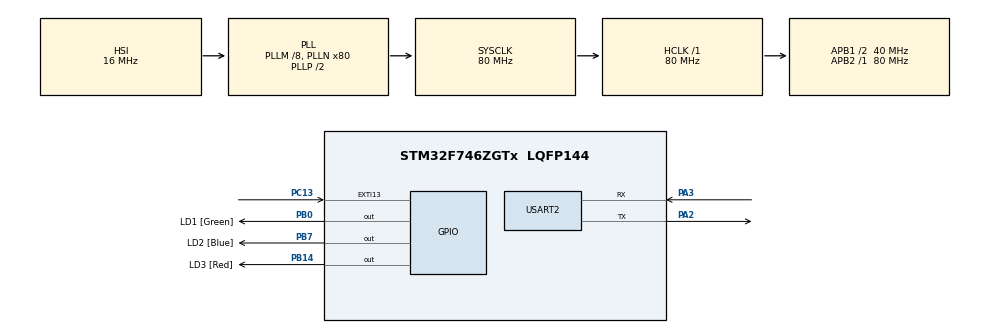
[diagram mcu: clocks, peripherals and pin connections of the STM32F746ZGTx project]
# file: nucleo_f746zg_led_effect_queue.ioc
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Mcu.Family=STM32F7
Mcu.Name=STM32F746ZGTx
Mcu.Package=LQFP144
NVIC.EXTI15_10_IRQn=true\:8\:0\:true\:false\:true\:true\:true\:true
NVIC.PriorityGroup=NVIC_PRIORITYGROUP_4
NVIC.TimeBase=TIM4_IRQn
NVIC.TimeBaseIP=TIM4
NVIC.USART2_IRQn=true\:8\:0\:true\:false\:true\:true\:true\:true
PA13.GPIO_Label=TMS
PA13.Signal=SYS_JTMS-SWDIO
PA14.Signal=SYS_JTCK-SWCLK
PA2.Mode=Asynchronous
PA2.Signal=USART2_TX
PA3.Mode=Asynchronous
PA3.Signal=USART2_RX
PB0.GPIO_Label=LD1 [Green]
PB0.Signal=GPIO_Output
PB14.GPIO_Label=LD3 [Red]
PB14.Signal=GPIO_Output
PB3.GPIO_Label=SW0
PB3.Signal=SYS_JTDO-SWO
PB7.GPIO_Label=LD2 [Blue]
PB7.Signal=GPIO_Output
PC13.Signal=GPXTI13
PC14/OSC32_IN.Signal=RCC_OSC32_IN
PC15/OSC32_OUT.Signal=RCC_OSC32_OUT
PH0/OSC_IN.Signal=RCC_OSC_IN
PH1/OSC_OUT.Signal=RCC_OSC_OUT
ProjectManager.HeapSize=0x200
ProjectManager.StackSize=0x400
ProjectManager.TargetToolchain=STM32CubeIDE
RCC.48MHZClocksFreq_Value=24000000
RCC.AHBFreq_Value=80000000
RCC.APB1CLKDivider=RCC_HCLK_DIV2
RCC.APB1Freq_Value=40000000
RCC.APB1TimFreq_Value=80000000
RCC.APB2Freq_Value=80000000
RCC.APB2TimFreq_Value=80000000
RCC.CortexFreq_Value=80000000
RCC.HCLKFreq_Value=80000000
RCC.HSE_VALUE=8000000
RCC.HSI_VALUE=16000000
RCC.LSE_VALUE=32768
RCC.PLLM=8
RCC.PLLMUL=RCC_PLL_MUL9
RCC.PLLN=80
RCC.PRESCALERUSB=RCC_USBCLKSOURCE_PLL_DIV1_5
RCC.SYSCLKFreq_VALUE=80000000
RCC.SYSCLKSource=RCC_SYSCLKSOURCE_PLLCLK
RCC.SYSCLKSourceVirtual=RCC_SYSCLKSOURCE_PLLCLK
RCC.USBFreq_Value=80000000
RCC.VCOOutputFreq_Value=160000000
USART2.VirtualMode-Asynchronous=VM_ASYNC
VP_SYS_VS_tim4.Mode=TIM4
board=NUCLEO-F746ZG

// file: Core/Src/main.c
/* USER CODE BEGIN Header */
/**
 ******************************************************************************
 * @file           : main.c
 * @brief          : Main program body
 ******************************************************************************
 * @attention
 *
 * Copyright (c) 2024 STMicroelectronics.
 * All rights reserved.
 *
 * This software is licensed under terms that can be found in the LICENSE file
 * in the root directory of this software component.
 * If no LICENSE file comes with this software, it is provided AS-IS.
 *
 * Use JP3 to control power input on the Nucleo:
 * JP3 at UV5 is set to use USB 5v as input
 * JP3 at EV5 is set to use external 5V as input
 *
 ******************************************************************************
 */
/* USER CODE END Header */
#include "main.h"

/* USER CODE BEGIN Includes */
#include "commandParser.h"
#include "ledEffect.h"
#include "mainMenu.h"
#include "printManager.h"
/* USER CODE END Includes */

/* USER CODE BEGIN PD */
///#define DWT_CTRL (*(volatile uint32_t*)0xE0001000)

MainMenu menu;
PrintManager printer;
CommandParser parser;
LEDEffect ledController;

app_state_t appState = sMainMenu;

/* USER CODE END PD */

UART_HandleTypeDef huart2;

void SystemClock_Config(void);
static void MX_GPIO_Init(void);
static void MX_USART2_UART_Init(void);

int main(void)
{

  /* MCU Configuration--------------------------------------------------------*/

  /* Reset of all peripherals, Initializes the Flash interface and the Systick. */
  HAL_Init();

  /* USER CODE BEGIN Init */
  /// DWT_CTRL |=1;
  /* USER CODE END Init */

  /* Configure the system clock */
  SystemClock_Config();

  /* Initialize all configured peripherals */
  MX_GPIO_Init();
  MX_USART2_UART_Init();
  /* USER CODE BEGIN 2 */
  SEGGER_SYSVIEW_Conf();
  // call sysview start to start manual rtt recordings
  SEGGER_SYSVIEW_Start();
  // create the print manager task

  printManagerInit(&printer, &huart2);

  mainMenuInit(&menu);

  commandParserInit(&parser, &huart2);

  ledEffectInit(&ledController);

  // set initial app state to main menu
  appState = sMainMenu;

  // start the scheduler - shouldn't return unless there's a problem
  vTaskStartScheduler();
  /* USER CODE END 2 */

  /* Infinite loop */
  while (1) {

    /* USER CODE BEGIN 3 */

    // HAL_GPIO_WritePin(LD1_GPIO_Port, LD1_Pin, GPIO_PIN_SET);//turn led on

    // HAL_Delay(500);

    // HAL_GPIO_WritePin(LD2_GPIO_Port, LD2_Pin, GPIO_PIN_RESET);

    // HAL_Delay(500);
  }
  /* USER CODE END 3 */
}

void SystemClock_Config(void)
{
  RCC_OscInitTypeDef RCC_OscInitStruct = {0};
  RCC_ClkInitTypeDef RCC_ClkInitStruct = {0};

  /** Configure the main internal regulator output voltage
  */
  __HAL_RCC_PWR_CLK_ENABLE();
  __HAL_PWR_VOLTAGESCALING_CONFIG(PWR_REGULATOR_VOLTAGE_SCALE3);

  /** Initializes the RCC Oscillators according to the specified parameters
  * in the RCC_OscInitTypeDef structure.
  */
  RCC_OscInitStruct.OscillatorType = RCC_OSCILLATORTYPE_HSI;
  RCC_OscInitStruct.HSIState = RCC_HSI_ON;
  RCC_OscInitStruct.HSICalibrationValue = RCC_HSICALIBRATION_DEFAULT;
  RCC_OscInitStruct.PLL.PLLState = RCC_PLL_ON;
  RCC_OscInitStruct.PLL.PLLSource = RCC_PLLSOURCE_HSI;
  RCC_OscInitStruct.PLL.PLLM = 8;
  RCC_OscInitStruct.PLL.PLLN = 80;
  RCC_OscInitStruct.PLL.PLLP = RCC_PLLP_DIV2;
  RCC_OscInitStruct.PLL.PLLQ = 2;
  if (HAL_RCC_OscConfig(&RCC_OscInitStruct) != HAL_OK)
  {
    Error_Handler();
  }

  /** Initializes the CPU, AHB and APB buses clocks
  */
  RCC_ClkInitStruct.ClockType = RCC_CLOCKTYPE_HCLK|RCC_CLOCKTYPE_SYSCLK
                              |RCC_CLOCKTYPE_PCLK1|RCC_CLOCKTYPE_PCLK2;
  RCC_ClkInitStruct.SYSCLKSource = RCC_SYSCLKSOURCE_PLLCLK;
  RCC_ClkInitStruct.AHBCLKDivider = RCC_SYSCLK_DIV1;
  RCC_ClkInitStruct.APB1CLKDivider = RCC_HCLK_DIV2;
  RCC_ClkInitStruct.APB2CLKDivider = RCC_HCLK_DIV1;

  if (HAL_RCC_ClockConfig(&RCC_ClkInitStruct, FLASH_LATENCY_2) != HAL_OK)
  {
    Error_Handler();
  }
}

static void MX_USART2_UART_Init(void)
{

  huart2.Instance = USART2;
  huart2.Init.BaudRate = 115200;
  huart2.Init.WordLength = UART_WORDLENGTH_8B;
  huart2.Init.StopBits = UART_STOPBITS_1;
  huart2.Init.Parity = UART_PARITY_NONE;
  huart2.Init.Mode = UART_MODE_TX_RX;
  huart2.Init.HwFlowCtl = UART_HWCONTROL_NONE;
  huart2.Init.OverSampling = UART_OVERSAMPLING_16;
  huart2.Init.OneBitSampling = UART_ONE_BIT_SAMPLE_DISABLE;
  huart2.AdvancedInit.AdvFeatureInit = UART_ADVFEATURE_NO_INIT;
  if (HAL_UART_Init(&huart2) != HAL_OK)
  {
    Error_Handler();
  }

}

static void MX_GPIO_Init(void)
{
  GPIO_InitTypeDef GPIO_InitStruct = {0};

  /* GPIO Ports Clock Enable */
  __HAL_RCC_GPIOC_CLK_ENABLE();
  __HAL_RCC_GPIOH_CLK_ENABLE();
  __HAL_RCC_GPIOA_CLK_ENABLE();
  __HAL_RCC_GPIOB_CLK_ENABLE();

  /*Configure GPIO pin Output Level */
  HAL_GPIO_WritePin(GPIOB, LD1_Pin|LD3_Pin|LD2_Pin, GPIO_PIN_RESET);

  /*Configure GPIO pin : PC13 */
  GPIO_InitStruct.Pin = GPIO_PIN_13;
  GPIO_InitStruct.Mode = GPIO_MODE_IT_RISING;
  GPIO_InitStruct.Pull = GPIO_NOPULL;
  HAL_GPIO_Init(GPIOC, &GPIO_InitStruct);

  /*Configure GPIO pins : LD1_Pin LD3_Pin LD2_Pin */
  GPIO_InitStruct.Pin = LD1_Pin|LD3_Pin|LD2_Pin;
  GPIO_InitStruct.Mode = GPIO_MODE_OUTPUT_PP;
  GPIO_InitStruct.Pull = GPIO_NOPULL;
  GPIO_InitStruct.Speed = GPIO_SPEED_FREQ_LOW;
  HAL_GPIO_Init(GPIOB, &GPIO_InitStruct);

  /* EXTI interrupt init*/
  HAL_NVIC_SetPriority(EXTI15_10_IRQn, 8, 0);
  HAL_NVIC_EnableIRQ(EXTI15_10_IRQn);

}

void HAL_TIM_PeriodElapsedCallback(TIM_HandleTypeDef *htim)
{
  if (htim->Instance == TIM4) {
    HAL_IncTick();
  }
}

void Error_Handler(void)
{
  /* USER CODE BEGIN Error_Handler_Debug */
  SEGGER_SYSVIEW_PrintfHost("In Error Handler");
  /* User can add his own implementation to report the HAL error return state */
  __disable_irq();
  while (1) {
  }
  /* USER CODE END Error_Handler_Debug */
}

#ifdef  USE_FULL_ASSERT
/**
  * @brief  Reports the name of the source file and the source line number
  *         where the assert_param error has occurred.
  * @param  file: pointer to the source file name
  * @param  line: assert_param error line source number
  * @retval None
  */
void assert_failed(uint8_t *file, uint32_t line)
{
  /* USER CODE BEGIN 6 */
  /* User can add his own implementation to report the file name and line
     number, ex: printf("Wrong parameters value: file %s on line %d\r\n", file,
     line) */
  SEGGER_SYSVIEW_PrintfHost("assert_failed: file:%s, ln:%d", file, line);
  while (1) {
  }
  /* USER CODE END 6 */
}
#endif /* USE_FULL_ASSERT */
